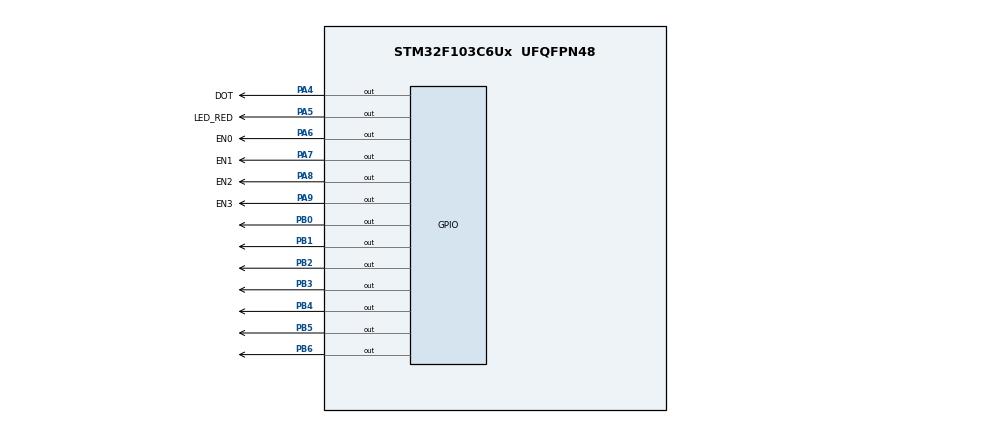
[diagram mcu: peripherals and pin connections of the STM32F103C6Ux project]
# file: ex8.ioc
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Mcu.Family=STM32F1
Mcu.Name=STM32F103C6Ux
Mcu.Package=UFQFPN48
NVIC.PriorityGroup=NVIC_PRIORITYGROUP_4
NVIC.TIM2_IRQn=true\:0\:0\:false\:false\:true\:true\:true
PA4.GPIO_Label=DOT
PA4.Signal=GPIO_Output
PA5.GPIO_Label=LED_RED
PA5.Signal=GPIO_Output
PA6.GPIO_Label=EN0
PA6.Signal=GPIO_Output
PA7.GPIO_Label=EN1
PA7.Signal=GPIO_Output
PA8.GPIO_Label=EN2
PA8.Signal=GPIO_Output
PA9.GPIO_Label=EN3
PA9.Signal=GPIO_Output
PB0.Signal=GPIO_Output
PB1.Signal=GPIO_Output
PB2.Signal=GPIO_Output
PB3.Signal=GPIO_Output
PB4.Signal=GPIO_Output
PB5.Signal=GPIO_Output
PB6.Signal=GPIO_Output
ProjectManager.HeapSize=0x200
ProjectManager.StackSize=0x400
ProjectManager.TargetToolchain=STM32CubeIDE
RCC.APB1Freq_Value=8000000
RCC.APB2Freq_Value=8000000
TIM2.Period=10
TIM2.Prescaler=7999
VP_SYS_VS_ND.Mode=No_Debug
VP_TIM2_VS_ClockSourceINT.Mode=Internal
board=custom

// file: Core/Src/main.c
/* USER CODE BEGIN Header */
/**
  ******************************************************************************
  * @file           : main.c
  * @brief          : Main program body
  ******************************************************************************
  * @attention
  *
  * <h2><center>&copy; Copyright (c) 2022 STMicroelectronics.
  * All rights reserved.</center></h2>
  *
  * This software component is licensed by ST under BSD 3-Clause license,
  * the "License"; You may not use this file except in compliance with the
  * License. You may obtain a copy of the License at:
  *                        opensource.org/licenses/BSD-3-Clause
  *
  ******************************************************************************
  */
/* USER CODE END Header */
#include "main.h"

/* USER CODE BEGIN Includes */
#include "software_timer.h"
/* USER CODE END Includes */

TIM_HandleTypeDef htim2;

void SystemClock_Config(void);
static void MX_GPIO_Init(void);
static void MX_TIM2_Init(void);

/* USER CODE BEGIN 0 */
void state_7seg(int a ,int b , int c , int d , int e ,int f, int g){
	   HAL_GPIO_WritePin(GPIOB, GPIO_PIN_0,a);
	   HAL_GPIO_WritePin(GPIOB, GPIO_PIN_1,b);
	   HAL_GPIO_WritePin(GPIOB, GPIO_PIN_2,c);
	   HAL_GPIO_WritePin(GPIOB, GPIO_PIN_3,d);
	   HAL_GPIO_WritePin(GPIOB, GPIO_PIN_4,e);
	   HAL_GPIO_WritePin(GPIOB, GPIO_PIN_5,f);
	   HAL_GPIO_WritePin(GPIOB, GPIO_PIN_6,g);
 }
void display_led7seg(int num){
	 if (num == 0){
		state_7seg(0,0,0,0,0,0,1);
	 }
	 if (num == 1){
		 state_7seg(1,0,0,1,1,1,1);
	 }
	 if (num == 2){
		 state_7seg(0,0,1,0,0,1,0);
	 }
	 if (num == 3){
		 state_7seg(0,0,0,0,1,1,0);
	 }
	 if (num == 4){
		 state_7seg(1,0,0,1,1,0,0);
	 }
	 if (num == 5){
		 state_7seg(0,1,0,0,1,0,0);
	 }
	 if (num == 6){
		 state_7seg(0,1,0,0,0,0,0);
	 }
	 if(num == 7){
		 state_7seg(0,0,0,1,1,1,1);
	 }
	 if (num == 8){
		 state_7seg(0,0,0,0,0,0,0);
	 }
	 if(num == 9){
		 state_7seg(0,0,0,0,1,0,0);
	 }
	 if(num >= 10){
		 state_7seg(0,0,0,0,0,0,1);
	 }
}
const int MAX_LED = 4;
int index_led = 0;
int led_buffer [4] = {1, 2, 3, 4};
void update7SEG ( int index ){
	switch ( index ){
		case 0:
			// Display the first 7 SEG with led_buffer [0]
			HAL_GPIO_WritePin(EN0_GPIO_Port,EN0_Pin,0);
			HAL_GPIO_WritePin(EN1_GPIO_Port,EN1_Pin,1);
			HAL_GPIO_WritePin(EN2_GPIO_Port,EN2_Pin,1);
			HAL_GPIO_WritePin(EN3_GPIO_Port,EN3_Pin,1);
			display_led7seg(led_buffer[0]);
			break ;
		case 1:
			// Display the second 7 SEG with led_buffer [1]
			HAL_GPIO_WritePin(EN0_GPIO_Port,EN0_Pin,1);
			HAL_GPIO_WritePin(EN1_GPIO_Port,EN1_Pin,0);
			HAL_GPIO_WritePin(EN2_GPIO_Port,EN2_Pin,1);
			HAL_GPIO_WritePin(EN3_GPIO_Port,EN3_Pin,1);
			display_led7seg(led_buffer[1]);
			break ;
		case 2:
			// Display the third 7 SEG with led_buffer [2]
			HAL_GPIO_WritePin(EN0_GPIO_Port,EN0_Pin,1);
			HAL_GPIO_WritePin(EN1_GPIO_Port,EN1_Pin,1);
			HAL_GPIO_WritePin(EN2_GPIO_Port,EN2_Pin,0);
			HAL_GPIO_WritePin(EN3_GPIO_Port,EN3_Pin,1);
			display_led7seg(led_buffer[2]);
			break ;
		case 3:
			// Display the forth 7 SEG with led_buffer [3]
			HAL_GPIO_WritePin(EN0_GPIO_Port,EN0_Pin,1);
			HAL_GPIO_WritePin(EN1_GPIO_Port,EN1_Pin,1);
			HAL_GPIO_WritePin(EN2_GPIO_Port,EN2_Pin,1);
			HAL_GPIO_WritePin(EN3_GPIO_Port,EN3_Pin,0);
			display_led7seg(led_buffer[3]);
			break ;
		default :
			break ;
	}
}

int hour_current , minute_current;
void updateClockBuffer (){
	if (hour_current < 10){
		led_buffer[0] = 0;
		led_buffer[1] = hour_current;
	}
	else if(hour_current >= 10){
		led_buffer[0] = hour_current/10;
		led_buffer[1] = hour_current - (hour_current/10)*10;
	}

	if(minute_current < 10){
		led_buffer[2] = 0;
		led_buffer[3] = minute_current ;
	}
	else if(minute_current >= 10){
		led_buffer[2] = minute_current/10;
		led_buffer[3] = minute_current - (minute_current/10)*10;
	}
}

/* USER CODE END 0 */

int main(void)
{

  /* MCU Configuration--------------------------------------------------------*/

  /* Reset of all peripherals, Initializes the Flash interface and the Systick. */
  HAL_Init();

  /* Configure the system clock */
  SystemClock_Config();

  /* Initialize all configured peripherals */
  MX_GPIO_Init();
  MX_TIM2_Init();
  /* USER CODE BEGIN 2 */
  HAL_TIM_Base_Start_IT (& htim2 );
  /* USER CODE END 2 */

  /* Infinite loop */
  /* USER CODE BEGIN WHILE */
  state_7seg(1,1,1,1,1,1,1);
  HAL_GPIO_WritePin(LED_RED_GPIO_Port, LED_RED_Pin, 0);
  HAL_GPIO_WritePin(DOT_GPIO_Port, DOT_Pin, 1);
  int hour = 24, minute = 28, second = 59;
  setTimer1(1000);
  setTimer2(1000);
  while (1)
  {
	  if(timer1_flag == 1){
		  setTimer1(1000);
		  second ++;
		  if ( second >= 60) {
			  second = 0;
			  minute ++;
		  }
		  if( minute >= 60) {
			  minute = 0;
			  hour ++;
		  }
		  if( hour >=24){
			  hour = 0;
		  }
		  hour_current = hour ; minute_current = minute;
		  updateClockBuffer ();
		  update7SEG(index_led++);
		  if(index_led >3){
		  	index_led = 0;
		  }
	  }
	  if(timer2_flag == 1){
		  setTimer2(1000);
		  HAL_GPIO_TogglePin(DOT_GPIO_Port, DOT_Pin);
	  }
    /* USER CODE END WHILE */
  }
}

void SystemClock_Config(void)
{
  RCC_OscInitTypeDef RCC_OscInitStruct = {0};
  RCC_ClkInitTypeDef RCC_ClkInitStruct = {0};

  /** Initializes the RCC Oscillators according to the specified parameters
  * in the RCC_OscInitTypeDef structure.
  */
  RCC_OscInitStruct.OscillatorType = RCC_OSCILLATORTYPE_HSI;
  RCC_OscInitStruct.HSIState = RCC_HSI_ON;
  RCC_OscInitStruct.HSICalibrationValue = RCC_HSICALIBRATION_DEFAULT;
  RCC_OscInitStruct.PLL.PLLState = RCC_PLL_NONE;
  if (HAL_RCC_OscConfig(&RCC_OscInitStruct) != HAL_OK)
  {
    Error_Handler();
  }
  /** Initializes the CPU, AHB and APB buses clocks
  */
  RCC_ClkInitStruct.ClockType = RCC_CLOCKTYPE_HCLK|RCC_CLOCKTYPE_SYSCLK
                              |RCC_CLOCKTYPE_PCLK1|RCC_CLOCKTYPE_PCLK2;
  RCC_ClkInitStruct.SYSCLKSource = RCC_SYSCLKSOURCE_HSI;
  RCC_ClkInitStruct.AHBCLKDivider = RCC_SYSCLK_DIV1;
  RCC_ClkInitStruct.APB1CLKDivider = RCC_HCLK_DIV1;
  RCC_ClkInitStruct.APB2CLKDivider = RCC_HCLK_DIV1;

  if (HAL_RCC_ClockConfig(&RCC_ClkInitStruct, FLASH_LATENCY_0) != HAL_OK)
  {
    Error_Handler();
  }
}

static void MX_TIM2_Init(void)
{

  TIM_ClockConfigTypeDef sClockSourceConfig = {0};
  TIM_MasterConfigTypeDef sMasterConfig = {0};

  htim2.Instance = TIM2;
  htim2.Init.Prescaler = 7999;
  htim2.Init.CounterMode = TIM_COUNTERMODE_UP;
  htim2.Init.Period = 10;
  htim2.Init.ClockDivision = TIM_CLOCKDIVISION_DIV1;
  htim2.Init.AutoReloadPreload = TIM_AUTORELOAD_PRELOAD_DISABLE;
  if (HAL_TIM_Base_Init(&htim2) != HAL_OK)
  {
    Error_Handler();
  }
  sClockSourceConfig.ClockSource = TIM_CLOCKSOURCE_INTERNAL;
  if (HAL_TIM_ConfigClockSource(&htim2, &sClockSourceConfig) != HAL_OK)
  {
    Error_Handler();
  }
  sMasterConfig.MasterOutputTrigger = TIM_TRGO_RESET;
  sMasterConfig.MasterSlaveMode = TIM_MASTERSLAVEMODE_DISABLE;
  if (HAL_TIMEx_MasterConfigSynchronization(&htim2, &sMasterConfig) != HAL_OK)
  {
    Error_Handler();
  }

}

static void MX_GPIO_Init(void)
{
  GPIO_InitTypeDef GPIO_InitStruct = {0};

  /* GPIO Ports Clock Enable */
  __HAL_RCC_GPIOA_CLK_ENABLE();
  __HAL_RCC_GPIOB_CLK_ENABLE();

  /*Configure GPIO pin Output Level */
  HAL_GPIO_WritePin(GPIOA, DOT_Pin|LED_RED_Pin|EN0_Pin|EN1_Pin
                          |EN2_Pin|EN3_Pin, GPIO_PIN_RESET);

  /*Configure GPIO pin Output Level */
  HAL_GPIO_WritePin(GPIOB, GPIO_PIN_0|GPIO_PIN_1|GPIO_PIN_2|GPIO_PIN_3
                          |GPIO_PIN_4|GPIO_PIN_5|GPIO_PIN_6, GPIO_PIN_RESET);

  /*Configure GPIO pins : DOT_Pin LED_RED_Pin EN0_Pin EN1_Pin
                           EN2_Pin EN3_Pin */
  GPIO_InitStruct.Pin = DOT_Pin|LED_RED_Pin|EN0_Pin|EN1_Pin
                          |EN2_Pin|EN3_Pin;
  GPIO_InitStruct.Mode = GPIO_MODE_OUTPUT_PP;
  GPIO_InitStruct.Pull = GPIO_NOPULL;
  GPIO_InitStruct.Speed = GPIO_SPEED_FREQ_LOW;
  HAL_GPIO_Init(GPIOA, &GPIO_InitStruct);

  /*Configure GPIO pins : PB0 PB1 PB2 PB3
                           PB4 PB5 PB6 */
  GPIO_InitStruct.Pin = GPIO_PIN_0|GPIO_PIN_1|GPIO_PIN_2|GPIO_PIN_3
                          |GPIO_PIN_4|GPIO_PIN_5|GPIO_PIN_6;
  GPIO_InitStruct.Mode = GPIO_MODE_OUTPUT_PP;
  GPIO_InitStruct.Pull = GPIO_NOPULL;
  GPIO_InitStruct.Speed = GPIO_SPEED_FREQ_LOW;
  HAL_GPIO_Init(GPIOB, &GPIO_InitStruct);

}

/* USER CODE BEGIN 4 */
//int count = 25;
void HAL_TIM_PeriodElapsedCallback(TIM_HandleTypeDef * htim ){
	timerRun();
}
/* USER CODE END 4 */

void Error_Handler(void)
{
  __disable_irq();
  while (1)
  {
  }
}

/************************ (C) COPYRIGHT STMicroelectronics *****END OF FILE****/
